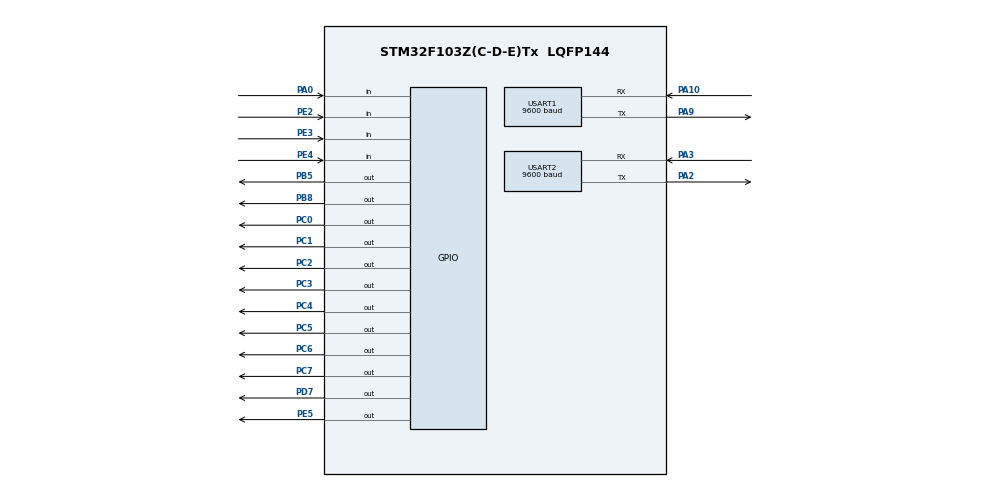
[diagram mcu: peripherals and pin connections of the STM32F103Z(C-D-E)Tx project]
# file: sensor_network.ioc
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Mcu.Family=STM32F1
Mcu.Name=STM32F103Z(C-D-E)Tx
Mcu.Package=LQFP144
NVIC.PriorityGroup=NVIC_PRIORITYGROUP_4
NVIC.USART1_IRQn=true\:0\:0\:false\:false\:true\:true
NVIC.USART2_IRQn=true\:0\:0\:false\:false\:true\:true
PA0-WKUP.GPIO_PuPd=GPIO_PULLDOWN
PA0-WKUP.Signal=GPIO_Input
PA10.Mode=Asynchronous
PA10.Signal=USART1_RX
PA13.Mode=JTAG_5_pins
PA13.Signal=SYS_JTMS-SWDIO
PA14.Mode=JTAG_5_pins
PA14.Signal=SYS_JTCK-SWCLK
PA15.Mode=JTAG_5_pins
PA15.Signal=SYS_JTDI
PA2.Mode=Asynchronous
PA2.Signal=USART2_TX
PA3.Mode=Asynchronous
PA3.Signal=USART2_RX
PA9.Mode=Asynchronous
PA9.Signal=USART1_TX
PB3.Mode=JTAG_5_pins
PB3.Signal=SYS_JTDO-TRACESWO
PB4.Mode=JTAG_5_pins
PB4.Signal=SYS_NJTRST
PB5.Signal=GPIO_Output
PB8.Signal=GPIO_Output
PC0.Signal=GPIO_Output
PC1.Signal=GPIO_Output
PC2.Signal=GPIO_Output
PC3.Signal=GPIO_Output
PC4.Signal=GPIO_Output
PC5.Signal=GPIO_Output
PC6.Signal=GPIO_Output
PC7.Signal=GPIO_Output
PD7.Signal=GPIO_Output
PE2.GPIO_PuPd=GPIO_PULLUP
PE2.Signal=GPIO_Input
PE3.GPIO_PuPd=GPIO_PULLUP
PE3.Signal=GPIO_Input
PE4.GPIO_PuPd=GPIO_PULLUP
PE4.Signal=GPIO_Input
PE5.PinState=GPIO_PIN_SET
PE5.Signal=GPIO_Output
ProjectManager.HeapSize=0x200
ProjectManager.StackSize=0x400
ProjectManager.TargetToolchain=MDK-ARM V5
RCC.APB1Freq_Value=8000000
RCC.APB2Freq_Value=8000000
USART1.BaudRate=9600
USART1.VirtualMode=VM_ASYNC
USART2.BaudRate=9600
USART2.VirtualMode=VM_ASYNC
board=custom

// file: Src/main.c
/* USER CODE BEGIN Header */
/**
  ******************************************************************************
  * @file           : main.c
  * @brief          : Main program body
  ******************************************************************************
  ** This notice applies to any and all portions of this file
  * that are not between comment pairs USER CODE BEGIN and
  * USER CODE END. Other portions of this file, whether
  * inserted by the user or by software development tools
  * are owned by their respective copyright owners.
  *
  * COPYRIGHT(c) 2019 STMicroelectronics
  *
  * Redistribution and use in source and binary forms, with or without modification,
  * are permitted provided that the following conditions are met:
  *   1. Redistributions of source code must retain the above copyright notice,
  *      this list of conditions and the following disclaimer.
  *   2. Redistributions in binary form must reproduce the above copyright notice,
  *      this list of conditions and the following disclaimer in the documentation
  *      and/or other materials provided with the distribution.
  *   3. Neither the name of STMicroelectronics nor the names of its contributors
  *      may be used to endorse or promote products derived from this software
  *      without specific prior written permission.
  *
  * THIS SOFTWARE IS PROVIDED BY THE COPYRIGHT HOLDERS AND CONTRIBUTORS "AS IS"
  * AND ANY EXPRESS OR IMPLIED WARRANTIES, INCLUDING, BUT NOT LIMITED TO, THE
  * IMPLIED WARRANTIES OF MERCHANTABILITY AND FITNESS FOR A PARTICULAR PURPOSE ARE
  * DISCLAIMED. IN NO EVENT SHALL THE COPYRIGHT HOLDER OR CONTRIBUTORS BE LIABLE
  * FOR ANY DIRECT, INDIRECT, INCIDENTAL, SPECIAL, EXEMPLARY, OR CONSEQUENTIAL
  * DAMAGES (INCLUDING, BUT NOT LIMITED TO, PROCUREMENT OF SUBSTITUTE GOODS OR
  * SERVICES; LOSS OF USE, DATA, OR PROFITS; OR BUSINESS INTERRUPTION) HOWEVER
  * CAUSED AND ON ANY THEORY OF LIABILITY, WHETHER IN CONTRACT, STRICT LIABILITY,
  * OR TORT (INCLUDING NEGLIGENCE OR OTHERWISE) ARISING IN ANY WAY OUT OF THE USE
  * OF THIS SOFTWARE, EVEN IF ADVISED OF THE POSSIBILITY OF SUCH DAMAGE.
  *
  ******************************************************************************
  */
/* USER CODE END Header */

#include "main.h"

/* USER CODE BEGIN PD */
#define TXBUFFERSIZE 1
#define RXBUFFERSIZE TXBUFFERSIZE
#define RUNNING_BLINK_INTERVAL 500 //ms 状态指示灯状态变化间隔时间
#define RX_INTERVAL 2 //ms 串口数据接收间隔时间（超出此时间，一次连续数据接收过程结束）
/* USER CODE END PD */

/* USER CODE BEGIN PM */
#ifdef __GNUC__
/* With GCC, small printf (option LD Linker->Libraries->Small printf
   set to 'Yes') calls __io_putchar() */
#define PUTCHAR_PROTOTYPE int __io_putchar(int ch)
#else
#define PUTCHAR_PROTOTYPE int fputc(int ch, FILE *f)
#endif /* __GNUC__ */
/* USER CODE END PM */

UART_HandleTypeDef huart1;
UART_HandleTypeDef huart2;

/* USER CODE BEGIN PV */
uint32_t lasttick, curtick;
uint32_t lastptime = 0;//上一次巡检时间
CircleQue_TypeDef qbuf1, qbuf2;
PtrQue_TypeDef sens_que;
PtrQue_TypeDef switch_que;
PtrQue_TypeDef msg_que;
volatile uint8_t gevents = 0;
__IO ITStatus Uart1TxCplt = RESET;
__IO ITStatus Uart1RxCplt = RESET;
__IO ITStatus Uart2TxCplt = RESET;
__IO ITStatus Uart2RxCplt = RESET;
uint16_t uart1rxcnt, uart1txcnt, uart2rxcnt, uart2txcnt;
/* Buffer used for transmission */
uint8_t aTx1Buffer[TXBUFFERSIZE];
/* Buffer used for reception */
uint8_t aRx1Buffer[RXBUFFERSIZE];
/* Buffer used for transmission */
uint8_t aTx2Buffer[TXBUFFERSIZE];
/* Buffer used for reception */
uint8_t aRx2Buffer[RXBUFFERSIZE];
uint32_t rx1_lastbyte_time = 0;//串口收到字符后发送等待时间（等接收缓冲区接收一点数据再发送，避免485收发状态频繁变化，485转换器芯片动作滞后）
/* USER CODE END PV */

void SystemClock_Config(void);
static void MX_GPIO_Init(void);
static void MX_USART1_UART_Init(void);
static void MX_USART2_UART_Init(void);

int main(void)
{
  /* USER CODE BEGIN 1 */
	uint8_t b;
  /* USER CODE END 1 */

  /* MCU Configuration--------------------------------------------------------*/

  /* Reset of all peripherals, Initializes the Flash interface and the Systick. */
  HAL_Init();

  /* Configure the system clock */
  SystemClock_Config();

  /* Initialize all configured peripherals */
  MX_GPIO_Init();
  MX_USART1_UART_Init();
  MX_USART2_UART_Init();
  /* USER CODE BEGIN 2 */
	lasttick = HAL_GetTick();
	RS485_RX_EN();
	Que_Init(&qbuf1);
	Que_Init(&qbuf2);
	Sensors_Que_Init(&sens_que);
	SW_Que_Init(&switch_que);
	PtrQue_Init(&msg_que);
	printf_dbg("Senor Networks Controller Ready!\r\n");
	if(HAL_UART_Receive_IT(&huart1, (uint8_t*)aRx1Buffer, 1)!= HAL_OK)
  {
    Error_Handler();
  }
//	if(HAL_UART_Receive_IT(&huart2, (uint8_t*)aRx2Buffer, 1)!= HAL_OK)
//  {
//    Error_Handler();
//  }

  /* USER CODE END 2 */

  /* Infinite loop */
  /* USER CODE BEGIN WHILE */
  while (1)
  {
		if (Que_Out(&qbuf1, &b))//检查缓冲区队列是否有数据，有则进行命令解析
		{
			while (HAL_UART_Receive_IT(&huart1, (uint8_t*)aRx1Buffer, 1)!= HAL_OK);//下达接收任务必须成功，否则不能再收到后续数据
			UART_Msg_Rx(b);
		}
		if ((HAL_GetTick() - lastptime + 0x100000000) % 0x100000000 >= POLLING_PERIOD * 1000)
		{
			printf_dbg("polling event trigged\r\n");
			lastptime = HAL_GetTick();
			gevents |= EV_PTIMOUT;
		}
		if ( (curtick = HAL_GetTick()) - lasttick >= RUNNING_BLINK_INTERVAL)
		{
			gevents |= EV_RSTIMOUT;
			lasttick = curtick;
		}
		events_proc();
    /* USER CODE END WHILE */

  }
}

void SystemClock_Config(void)
{
  RCC_OscInitTypeDef RCC_OscInitStruct = {0};
  RCC_ClkInitTypeDef RCC_ClkInitStruct = {0};

  /**Initializes the CPU, AHB and APB busses clocks
  */
  RCC_OscInitStruct.OscillatorType = RCC_OSCILLATORTYPE_HSI;
  RCC_OscInitStruct.HSIState = RCC_HSI_ON;
  RCC_OscInitStruct.HSICalibrationValue = RCC_HSICALIBRATION_DEFAULT;
  RCC_OscInitStruct.PLL.PLLState = RCC_PLL_NONE;
  if (HAL_RCC_OscConfig(&RCC_OscInitStruct) != HAL_OK)
  {
    Error_Handler();
  }
  /**Initializes the CPU, AHB and APB busses clocks
  */
  RCC_ClkInitStruct.ClockType = RCC_CLOCKTYPE_HCLK|RCC_CLOCKTYPE_SYSCLK
                              |RCC_CLOCKTYPE_PCLK1|RCC_CLOCKTYPE_PCLK2;
  RCC_ClkInitStruct.SYSCLKSource = RCC_SYSCLKSOURCE_HSI;
  RCC_ClkInitStruct.AHBCLKDivider = RCC_SYSCLK_DIV1;
  RCC_ClkInitStruct.APB1CLKDivider = RCC_HCLK_DIV1;
  RCC_ClkInitStruct.APB2CLKDivider = RCC_HCLK_DIV1;

  if (HAL_RCC_ClockConfig(&RCC_ClkInitStruct, FLASH_LATENCY_0) != HAL_OK)
  {
    Error_Handler();
  }
}

static void MX_USART1_UART_Init(void)
{

  huart1.Instance = USART1;
  huart1.Init.BaudRate = 9600;
  huart1.Init.WordLength = UART_WORDLENGTH_8B;
  huart1.Init.StopBits = UART_STOPBITS_1;
  huart1.Init.Parity = UART_PARITY_NONE;
  huart1.Init.Mode = UART_MODE_TX_RX;
  huart1.Init.HwFlowCtl = UART_HWCONTROL_NONE;
  huart1.Init.OverSampling = UART_OVERSAMPLING_16;
  if (HAL_UART_Init(&huart1) != HAL_OK)
  {
    Error_Handler();
  }

}

static void MX_USART2_UART_Init(void)
{

  huart2.Instance = USART2;
  huart2.Init.BaudRate = 9600;
  huart2.Init.WordLength = UART_WORDLENGTH_8B;
  huart2.Init.StopBits = UART_STOPBITS_1;
  huart2.Init.Parity = UART_PARITY_NONE;
  huart2.Init.Mode = UART_MODE_TX_RX;
  huart2.Init.HwFlowCtl = UART_HWCONTROL_NONE;
  huart2.Init.OverSampling = UART_OVERSAMPLING_16;
  if (HAL_UART_Init(&huart2) != HAL_OK)
  {
    Error_Handler();
  }

}

static void MX_GPIO_Init(void)
{
  GPIO_InitTypeDef GPIO_InitStruct = {0};

  /* GPIO Ports Clock Enable */
  __HAL_RCC_GPIOE_CLK_ENABLE();
  __HAL_RCC_GPIOC_CLK_ENABLE();
  __HAL_RCC_GPIOA_CLK_ENABLE();
  __HAL_RCC_GPIOD_CLK_ENABLE();
  __HAL_RCC_GPIOB_CLK_ENABLE();

  /*Configure GPIO pin Output Level */
  HAL_GPIO_WritePin(GPIOE, GPIO_PIN_5, GPIO_PIN_SET);

  /*Configure GPIO pin Output Level */
  HAL_GPIO_WritePin(GPIOC, GPIO_PIN_0|GPIO_PIN_1|GPIO_PIN_2|GPIO_PIN_3
                          |GPIO_PIN_4|GPIO_PIN_5|GPIO_PIN_6|GPIO_PIN_7, GPIO_PIN_RESET);

  /*Configure GPIO pin Output Level */
  HAL_GPIO_WritePin(GPIOD, GPIO_PIN_7, GPIO_PIN_RESET);

  /*Configure GPIO pin Output Level */
  HAL_GPIO_WritePin(GPIOB, GPIO_PIN_5|GPIO_PIN_8, GPIO_PIN_RESET);

  /*Configure GPIO pins : PE2 PE3 PE4 */
  GPIO_InitStruct.Pin = GPIO_PIN_2|GPIO_PIN_3|GPIO_PIN_4;
  GPIO_InitStruct.Mode = GPIO_MODE_INPUT;
  GPIO_InitStruct.Pull = GPIO_PULLUP;
  HAL_GPIO_Init(GPIOE, &GPIO_InitStruct);

  /*Configure GPIO pin : PE5 */
  GPIO_InitStruct.Pin = GPIO_PIN_5;
  GPIO_InitStruct.Mode = GPIO_MODE_OUTPUT_PP;
  GPIO_InitStruct.Pull = GPIO_NOPULL;
  GPIO_InitStruct.Speed = GPIO_SPEED_FREQ_LOW;
  HAL_GPIO_Init(GPIOE, &GPIO_InitStruct);

  /*Configure GPIO pins : PC0 PC1 PC2 PC3
                           PC4 PC5 PC6 PC7 */
  GPIO_InitStruct.Pin = GPIO_PIN_0|GPIO_PIN_1|GPIO_PIN_2|GPIO_PIN_3
                          |GPIO_PIN_4|GPIO_PIN_5|GPIO_PIN_6|GPIO_PIN_7;
  GPIO_InitStruct.Mode = GPIO_MODE_OUTPUT_PP;
  GPIO_InitStruct.Pull = GPIO_NOPULL;
  GPIO_InitStruct.Speed = GPIO_SPEED_FREQ_LOW;
  HAL_GPIO_Init(GPIOC, &GPIO_InitStruct);

  /*Configure GPIO pin : PA0 */
  GPIO_InitStruct.Pin = GPIO_PIN_0;
  GPIO_InitStruct.Mode = GPIO_MODE_INPUT;
  GPIO_InitStruct.Pull = GPIO_PULLDOWN;
  HAL_GPIO_Init(GPIOA, &GPIO_InitStruct);

  /*Configure GPIO pin : PD7 */
  GPIO_InitStruct.Pin = GPIO_PIN_7;
  GPIO_InitStruct.Mode = GPIO_MODE_OUTPUT_PP;
  GPIO_InitStruct.Pull = GPIO_NOPULL;
  GPIO_InitStruct.Speed = GPIO_SPEED_FREQ_LOW;
  HAL_GPIO_Init(GPIOD, &GPIO_InitStruct);

  /*Configure GPIO pins : PB5 PB8 */
  GPIO_InitStruct.Pin = GPIO_PIN_5|GPIO_PIN_8;
  GPIO_InitStruct.Mode = GPIO_MODE_OUTPUT_PP;
  GPIO_InitStruct.Pull = GPIO_NOPULL;
  GPIO_InitStruct.Speed = GPIO_SPEED_FREQ_LOW;
  HAL_GPIO_Init(GPIOB, &GPIO_InitStruct);

}

/* USER CODE BEGIN 4 */
/**
  * @brief  Tx Transfer completed callback
  * @param  UartHandle: UART handle.
  * @note   This example shows a simple way to report end of IT Tx transfer, and
  *         you can add your own implementation.
  * @retval None
  */
void HAL_UART_TxCpltCallback(UART_HandleTypeDef *UartHandle)
{
  /* Set transmission flag: transfer complete */
	if (UartHandle->Instance == USART1)
	{
		Uart1TxCplt = SET;
	}
	if (UartHandle->Instance == USART2)
	{
		Uart2TxCplt = SET;
	}
}

/**
  * @brief  Rx Transfer completed callback
  * @param  UartHandle: UART handle
  * @note   This example shows a simple way to report end of DMA Rx transfer, and
  *         you can add your own implementation.
  * @retval None
  */
void HAL_UART_RxCpltCallback(UART_HandleTypeDef *UartHandle)
{
  /* Set transmission flag: transfer complete */
	if (UartHandle->Instance == USART1)
	{
		Uart1RxCplt = SET;
		Que_In(&qbuf1, aRx1Buffer[0]);//入队
//		while (HAL_UART_Receive_IT(&huart1, (uint8_t*)aRx1Buffer, 1)!= HAL_OK);//下达接收任务必须成功，否则不能再收到后续数据
		//can't put on ISR to avoid dead lock.
	}
	if (UartHandle->Instance == USART2)
	{
		Uart2RxCplt = SET;
	}
}

/**
  * @brief  UART error callbacks
  * @param  UartHandle: UART handle
  * @note   This example shows a simple way to report transfer error, and you can
  *         add your own implementation.
  * @retval None
  */
void HAL_UART_ErrorCallback(UART_HandleTypeDef *UartHandle)
{
    Error_Handler();
}

/**
  * @brief  Retargets the C library printf function to the USART.
  * @param  None
  * @retval None
  */
PUTCHAR_PROTOTYPE
{
  /* Place your implementation of fputc here */
  /* e.g. write a character to the USART1 and Loop until the end of transmission */
  HAL_UART_Transmit(&huart1, (uint8_t *)&ch, 1, 0xFFFF);

  return ch;
}
/* USER CODE END 4 */

void Error_Handler(void)
{
}

/************************ (C) COPYRIGHT STMicroelectronics *****END OF FILE****/
